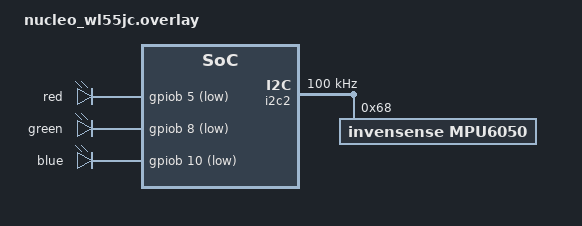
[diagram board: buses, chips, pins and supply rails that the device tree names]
#include <zephyr/dt-bindings/gpio/gpio.h>
#include <zephyr/dt-bindings/i2c/i2c.h>

/ {
    rgb-leds {
        compatible = "gpio-leds";

        red: red {
            gpios = <&gpiob 5 GPIO_ACTIVE_LOW>;
        };
        green: green {
            gpios = <&gpiob 8 GPIO_ACTIVE_LOW>;
        };
        blue: blue {
            gpios = <&gpiob 10 GPIO_ACTIVE_LOW>;
        };
    };
};

&i2c2 {
    clock-frequency = <I2C_BITRATE_STANDARD>;

    mpu6050: mpu6050@68 {
        compatible = "invensense,mpu6050";
        reg = <0x68>;
        accel-fs = <2>;
        gyro-fs = <250>;
        zephyr,deferred-init;
    };
};

/* Keep the board's unused ADC-backed sensors from enabling ADC1. */
&adc1 {
    status = "disabled";
};
